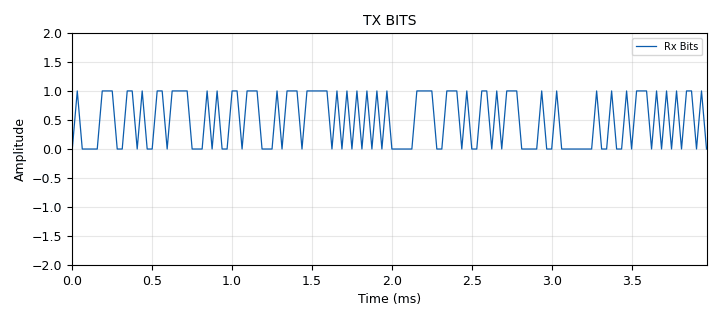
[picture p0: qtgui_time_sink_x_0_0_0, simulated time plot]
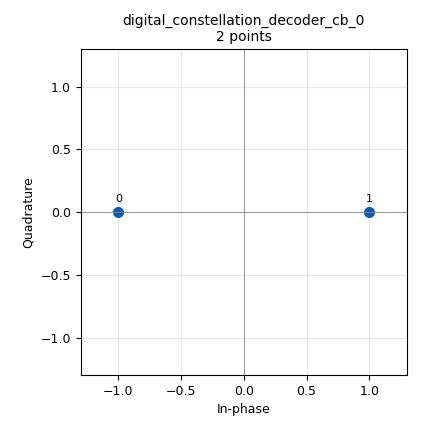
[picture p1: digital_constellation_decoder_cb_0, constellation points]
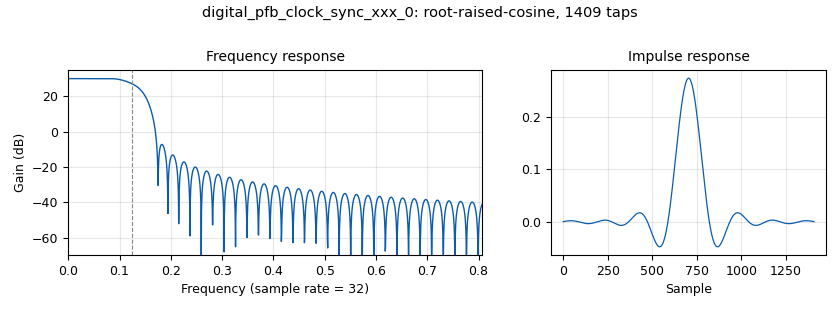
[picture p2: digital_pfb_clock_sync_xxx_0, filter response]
options:
  parameters:
    author: CSPL
    category: Custom
    description: Using Diff Enc
    generate_options: qt_gui
    id: BPSK
    output_language: python
    title: BPSK
  states: {}

blocks:
- name: bpsk
  id: variable_constellation
  parameters:
    precision: '8'
    type: bpsk
  states: {}
- name: excess_bw
  id: variable
  parameters:
    value: '0.35'
  states: {}
- name: loop_order
  id: variable
  parameters:
    value: '2'
  states: {}
- name: nfilts
  id: variable
  parameters:
    value: '32'
  states: {}
- name: phase_bw
  id: variable
  parameters:
    value: '0.0628'
  states: {}
- name: rrc_taps
  id: variable
  parameters:
    value: firdes.root_raised_cosine(nfilts, nfilts, 1.0/float(sps), 0.35, 11*sps*nfilts)
  states: {}
- name: samp_rate
  id: variable
  parameters:
    value: '32000'
  states: {}
- name: sps
  id: variable
  parameters:
    value: '4'
  states: {}
- name: taps
  id: variable
  parameters:
    value: '[1.0 + 0.0j, ]'
  states: {}
- name: timing_loop_bw
  id: variable
  parameters:
    value: '0.0628'
  states: {}
- name: analog_random_source_x_0
  id: analog_random_source_x
  parameters:
    max: '255'
    min: '0'
    num_samps: '10000'
    repeat: 'True'
    type: byte
  states: {}
- name: blocks_char_to_float_0_0
  id: blocks_char_to_float
  parameters:
    scale: '1'
  states: {}
- name: blocks_char_to_float_0_0_0
  id: blocks_char_to_float
  parameters:
    scale: '1'
  states: {}
- name: blocks_multiply_const_vxx_0
  id: blocks_multiply_const_vxx
  parameters:
    const: '1'
    type: complex
  states: {}
- name: blocks_unpack_k_bits_bb_0_0
  id: blocks_unpack_k_bits_bb
  parameters:
    k: '8'
  states: {}
- name: digital_constellation_decoder_cb_0
  id: digital_constellation_decoder_cb
  parameters:
    constellation: bpsk
  states: {}
- name: digital_constellation_modulator_0
  id: digital_constellation_modulator
  parameters:
    constellation: bpsk
    differential: 'True'
    excess_bw: excess_bw
    samples_per_symbol: sps
  states: {}
- name: digital_costas_loop_cc_0
  id: digital_costas_loop_cc
  parameters:
    order: loop_order
    w: phase_bw
  states: {}
- name: digital_diff_decoder_bb_0
  id: digital_diff_decoder_bb
  parameters:
    coding: digital.DIFF_DIFFERENTIAL
    modulus: '2'
  states: {}
- name: digital_pfb_clock_sync_xxx_0
  id: digital_pfb_clock_sync_xxx
  parameters:
    filter_size: nfilts
    init_phase: nfilts/2
    loop_bw: timing_loop_bw
    max_dev: '1.5'
    osps: '1'
    sps: sps
    taps: rrc_taps
    type: ccf
  states: {}
- name: iio_pluto_sink_0
  id: iio_pluto_sink
  parameters:
    attenuation1: '10'
    bandwidth: '20000000'
    buffer_size: '32768'
    cyclic: 'False'
    filter_source: '''Auto'''
    frequency: '2400000000'
    samplerate: samp_rate*sps
    type: fc32
    uri: 192.168.2.1
  states: {}
- name: iio_pluto_source_0
  id: iio_pluto_source
  parameters:
    bandwidth: '20000000'
    bbdc: 'True'
    buffer_size: '32768'
    filter_source: '''Auto'''
    frequency: '2400000000'
    gain1: '''slow_attack'''
    quadrature: 'True'
    rfdc: 'True'
    samplerate: samp_rate*sps
    type: fc32
    uri: 192.168.2.1
  states: {}
- name: qtgui_const_sink_x_0
  id: qtgui_const_sink_x
  parameters:
    comment: 2,0,1,4
    gui_hint: 2,0,1,4
    name: ''
    size: '1024'
    type: complex
  states: {}
- name: qtgui_time_sink_x_0_0
  id: qtgui_time_sink_x
  parameters:
    comment: 1,0,1,4
    label1: Rx Bits
    name: RX BITS
    size: '128'
    srate: samp_rate
    tr_mode: qtgui.TRIG_MODE_AUTO
    type: float
    ymax: '2'
    ymin: '-2'
  states: {}
- name: qtgui_time_sink_x_0_0_0
  id: qtgui_time_sink_x
  parameters:
    label1: Rx Bits
    name: TX BITS
    size: '128'
    srate: samp_rate
    tr_mode: qtgui.TRIG_MODE_AUTO
    type: float
    ymax: '2'
    ymin: '-2'
  states: {}
- name: virtual_sink_0
  id: virtual_sink
  parameters:
    stream_id: '"clock_sync"'
  states: {}
- name: virtual_source_0
  id: virtual_source
  parameters:
    stream_id: '"clock_sync"'
  states: {}

connections:
- [analog_random_source_x_0, '0', blocks_unpack_k_bits_bb_0_0, '0']
- [analog_random_source_x_0, '0', digital_constellation_modulator_0, '0']
- [blocks_char_to_float_0_0, '0', qtgui_time_sink_x_0_0, '0']
- [blocks_char_to_float_0_0_0, '0', qtgui_time_sink_x_0_0_0, '0']
- [blocks_multiply_const_vxx_0, '0', digital_pfb_clock_sync_xxx_0, '0']
- [blocks_unpack_k_bits_bb_0_0, '0', blocks_char_to_float_0_0_0, '0']
- [digital_constellation_decoder_cb_0, '0', digital_diff_decoder_bb_0, '0']
- [digital_constellation_modulator_0, '0', iio_pluto_sink_0, '0']
- [digital_costas_loop_cc_0, '0', digital_constellation_decoder_cb_0, '0']
- [digital_costas_loop_cc_0, '0', qtgui_const_sink_x_0, '0']
- [digital_diff_decoder_bb_0, '0', blocks_char_to_float_0_0, '0']
- [digital_pfb_clock_sync_xxx_0, '0', virtual_sink_0, '0']
- [iio_pluto_source_0, '0', blocks_multiply_const_vxx_0, '0']
- [virtual_source_0, '0', digital_costas_loop_cc_0, '0']

metadata:
  file_format: 1
  grc_version: 3.10.7.0
